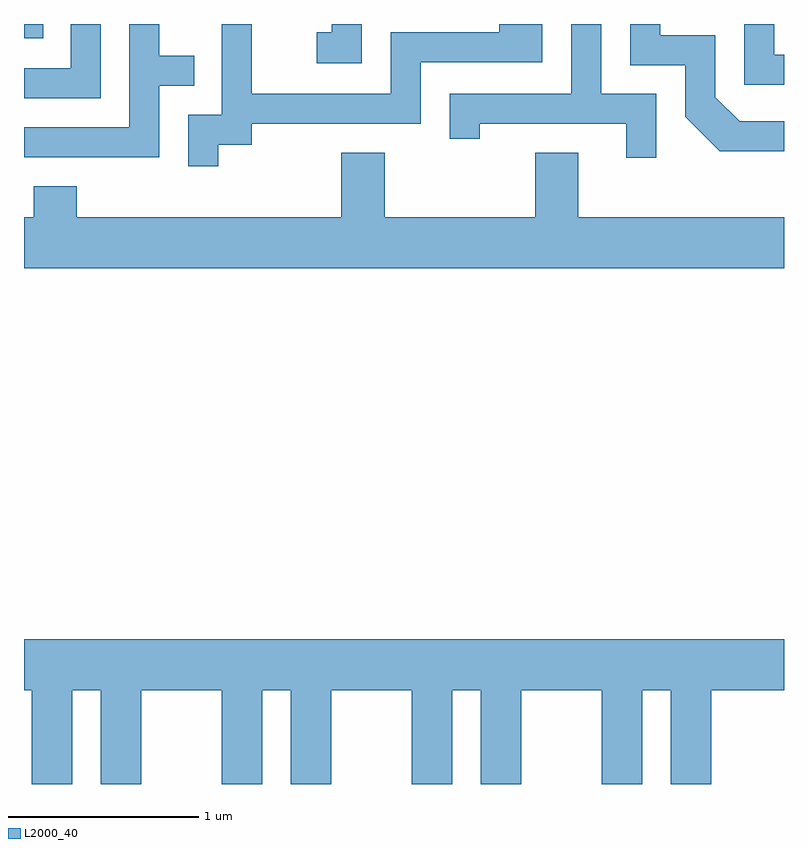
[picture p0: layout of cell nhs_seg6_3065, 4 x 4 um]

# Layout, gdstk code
import gdstk
lib = gdstk.Library(unit=1e-6, precision=1e-09)
def R(c, l, rs):  # rectangles x0, y0, x1, y1
    for r in rs: c.add(gdstk.rectangle(r[:2], r[2:], *l))
def P(c, l, *ps):  # polygons
    for p in ps: c.add(gdstk.Polygon(p, *l))
L2000_40 = (2000, 40)

nhs_seg6_3065 = lib.new_cell('nhs_seg6_3065')
R(nhs_seg6_3065, L2000_40, [(277.611,1600.086,277.713,1600.162)])
P(nhs_seg6_3065, L2000_40, [(281.611,1599.649),(281.377,1599.649),(281.249,1599.777),(281.249,1600.104),(280.959,1600.104),(280.959,1600.162),(280.801,1600.162),(280.801,1599.946),(281.091,1599.946),(281.091,1599.674),(281.274,1599.491),(281.611,1599.491)],
  [(278.634,1599.526),(278.809,1599.526),(278.809,1599.636),(279.699,1599.636),(279.699,1599.961),(280.339,1599.961),(280.339,1600.162),(280.111,1600.162),(280.111,1600.119),(279.541,1600.119),(279.541,1599.794),(278.809,1599.794),(278.809,1600.162),(278.651,1600.162),(278.651,1599.684),(278.476,1599.684),(278.476,1599.413),(278.634,1599.413)],
  [(278.014,1600.162),(277.856,1600.162),(277.856,1599.929),(277.611,1599.929),(277.611,1599.771),(278.014,1599.771)],
  [(278.324,1599.836),(278.508,1599.836),(278.508,1599.994),(278.324,1599.994),(278.324,1600.162),(278.166,1600.162),(278.166,1599.619),(277.611,1599.619),(277.611,1599.461),(278.324,1599.461)],
  [(281.611,1599.999),(281.559,1599.999),(281.559,1600.162),(281.401,1600.162),(281.401,1599.841),(281.611,1599.841)],
  [(279.389,1600.162),(279.231,1600.162),(279.231,1600.119),(279.153,1600.119),(279.153,1599.956),(279.389,1599.956)],
  [(280.939,1599.794),(280.649,1599.794),(280.649,1600.162),(280.491,1600.162),(280.491,1599.794),(279.851,1599.794),(279.851,1599.558),(280.009,1599.558),(280.009,1599.636),(280.781,1599.636),(280.781,1599.458),(280.939,1599.458)],
  [(281.611,1599.144),(280.529,1599.144),(280.529,1599.484),(280.301,1599.484),(280.301,1599.144),(279.509,1599.144),(279.509,1599.484),(279.281,1599.484),(279.281,1599.144),(277.889,1599.144),(277.889,1599.309),(277.661,1599.309),(277.661,1599.144),(277.611,1599.144),(277.611,1598.876),(281.611,1598.876)],
  [(277.864,1596.656),(278.016,1596.656),(278.016,1596.162),(278.229,1596.162),(278.229,1596.656),(278.651,1596.656),(278.651,1596.162),(278.864,1596.162),(278.864,1596.656),(279.016,1596.656),(279.016,1596.162),(279.229,1596.162),(279.229,1596.656),(279.651,1596.656),(279.651,1596.162),(279.864,1596.162),(279.864,1596.656),(280.016,1596.656),(280.016,1596.162),(280.229,1596.162),(280.229,1596.656),(280.651,1596.656),(280.651,1596.162),(280.864,1596.162),(280.864,1596.656),(281.016,1596.656),(281.016,1596.162),(281.229,1596.162),(281.229,1596.656),(281.611,1596.656),(281.611,1596.924),(277.611,1596.924),(277.611,1596.656),(277.651,1596.656),(277.651,1596.162),(277.864,1596.162)])

lib.write_gds('nhs_seg6_3065.gds')
